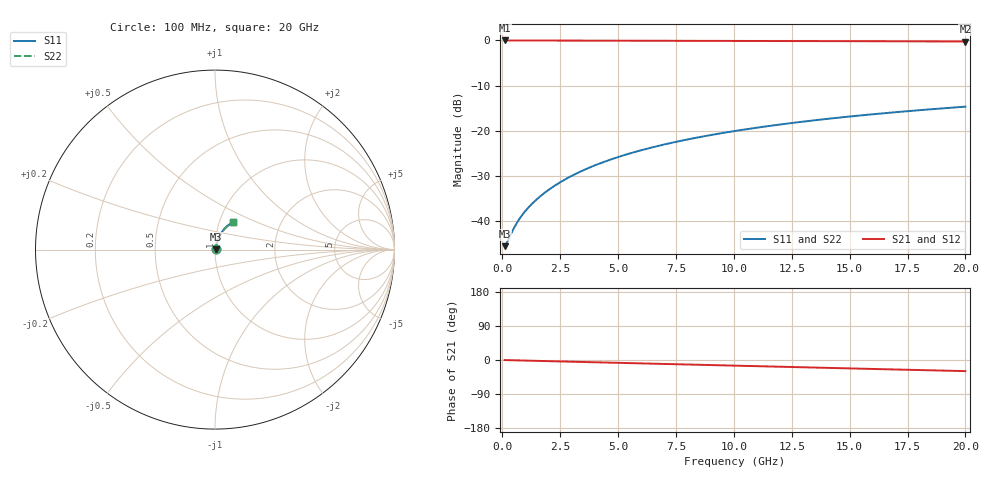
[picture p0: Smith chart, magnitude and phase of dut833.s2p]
! Touchstone file exported from HFSS 2026.1.0
!  File:  C:/ffzhzh/LocalFiles/Ansys_Project_Files/temp_train_BSMRDL_833_1783170259_55132.aedt
!  Generated:  09:05:25 PM Jul  4, 2026
!  Design:  BSMRDL
!  Project:  temp_train_BSMRDL_833_1783170259_55132
! Variables:
!  h_bsmrdl = 2.25um
!  h_ox = 20um
!  h_rdl = 5um
!  h_sub = 80um
!  h_tmrdl = 5um
!  h_tsv = 80um
!  h_via = 3um
!  l_bsmrdl = 481.39um
!  l_sub = 881.39um
!  l_tmrdl = 200um
!  m_sub = 200um
!  pitch = 23.28um
!  r_tsv = 6um
!  s_tmrdl = 10um
!  w_bsmrdl = 15.26um
!  w_sub = 500um
!  w_tmrdl = 12um
!  x_tsv_center1 = 206um
!  x_tsv_center2 = 702.65um
!  x_tsv_center3 = 914.65um
!  x_tsv_center4 = 1411.3um
!  x_tsv_center5 = 1623.3um
!  x_tsv_center6 = 2119.95um
# GHz S MA R 50.000000
! Terminal data exported
! Port[1] = BSM_RDL1_1_T1
! Port[2] = BSM_RDL1_1_T2
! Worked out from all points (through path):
!   200 points, 100 MHz to 20 GHz, reference 50 ohm
!   highest |S21| = -0.05 dB at 100 MHz (marker M1); lowest = -0.3 dB at 20 GHz (marker M2)
!   group delay of S21, straight-line fit = 4.07 ps
!   lowest |S11| = -45.5 dB at 100 MHz (marker M3), VSWR 1.01, Z = 50.5 + j0.13 ohm
!   |S11| at or under -10 dB: start of sweep to end of sweep
!   |S22| runs from -45.5 to -14.7 dB; largest |S21 - S12| = 2.7e-15
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0.1  0.005336 14.0  0.9948 -0.2  0.9948 -0.2  0.005336 14.0
! Gamma 0 0 0 0
! Port Impedance 50 0 50 0
0.2  0.005872 25.7  0.9947 -0.3  0.9947 -0.3  0.005872 25.7
0.5  0.008433 45.8  0.9942 -0.8  0.9942 -0.8  0.008433 45.8
0.7  0.01031 52.2  0.9938 -1.1  0.9938 -1.1  0.01031 52.2
0.8  0.01124 54.6  0.9936 -1.3  0.9936 -1.3  0.01124 54.6
1  0.01307 58.2  0.9934 -1.6  0.9934 -1.6  0.01307 58.2
1.3  0.01582 62.2  0.993 -2.0  0.993 -2.0  0.01581 62.2
1.5  0.01765 64.3  0.9929 -2.3  0.9929 -2.3  0.01765 64.3
1.8  0.02043 66.7  0.9927 -2.8  0.9927 -2.8  0.02043 66.7
2.3  0.02515 69.5  0.9924 -3.5  0.9924 -3.5  0.02515 69.5
2.9  0.03091 71.5  0.992 -4.4  0.992 -4.4  0.03091 71.5
3.5  0.03673 72.6  0.9916 -5.3  0.9916 -5.3  0.03673 72.6
4.2  0.04355 73.2  0.9912 -6.3  0.9912 -6.3  0.04355 73.2
5  0.05137 73.3  0.9906 -7.5  0.9906 -7.5  0.05137 73.3
5.9  0.06014 73.1  0.9898 -8.9  0.9898 -8.9  0.06014 73.1
6.8  0.06886 72.5  0.9889 -10.2  0.9889 -10.2  0.06886 72.5
8.3  0.08323 71.1  0.9872 -12.4  0.9872 -12.4  0.08323 71.1
10.1  0.1002 69.1  0.9849 -15.1  0.9849 -15.1  0.1001 69.1
11.7  0.1148 67.2  0.9826 -17.4  0.9826 -17.4  0.1148 67.2
13.4  0.1301 65.0  0.9799 -19.9  0.9799 -19.9  0.1301 65.0
16.7  0.1583 60.7  0.9744 -24.6  0.9744 -24.6  0.1583 60.7
20  0.1849 56.3  0.9684 -29.3  0.9684 -29.3  0.1849 56.3
